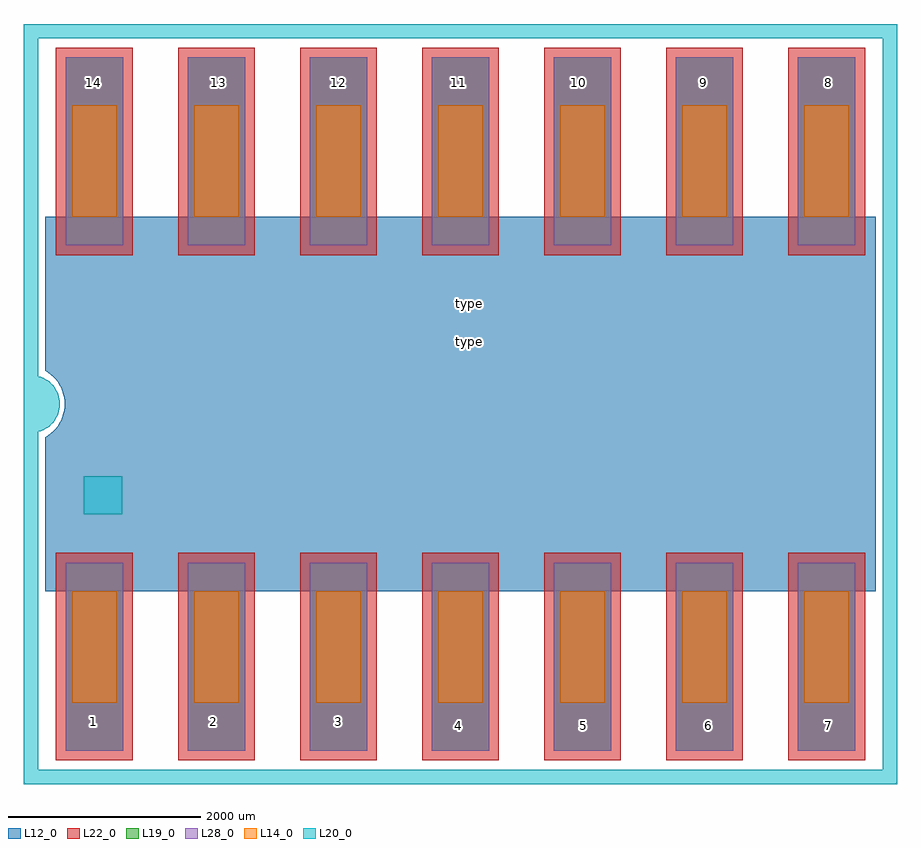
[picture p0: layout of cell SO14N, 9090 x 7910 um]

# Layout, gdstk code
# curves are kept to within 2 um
import gdstk
lib = gdstk.Library(unit=1e-6, precision=1e-09)
def R(c, l, rs):  # rectangles x0, y0, x1, y1
    for r in rs: c.add(gdstk.rectangle(r[:2], r[2:], *l))
def A(c, l, x, y, w, h, nx, ny, dx, dy):  # array of equal rectangles
    R(c, l, [(x+i*dx, y+j*dy, x+i*dx+w, y+j*dy+h) for i in range(nx) for j in range(ny)])
def P(c, l, *ps):  # polygons
    for p in ps: c.add(gdstk.Polygon(p, *l))
L12_0 = (12, 0)
L14_0 = (14, 0)
L19_0 = (19, 0)
L20_0 = (20, 0)
L22_0 = (22, 0)
L28_0 = (28, 0)

so14n = lib.new_cell('SO14N')
P(so14n, L12_0, [(8640.005,3900.005),(0,3900.005),(0,2296.413),(29.431,2277.664),(82.843,2232.846),(127.661,2179.434),(146.41,2150.003),(175.877,2086.811),(186.37,2053.531),(198.478,1984.865),(200,1950.003),(198.478,1915.141),(186.37,1846.475),(175.877,1813.195),(146.41,1750.003),(127.661,1720.572),(82.843,1667.16),(29.431,1622.342),(0,1603.593),(0,0),(8640.005,0)])
A(so14n, L14_0, 280, -1160, 460, 1160, 7, 2, 1270, 5060)
A(so14n, L19_0, 210, -1660, 600, 1960, 7, 2, 1270, 5260)
R(so14n, L20_0, [(400,800,800,1200)])
P(so14n, L20_0, [(-150,2250),(-150,1650),(-97.906,1654.558),(-47.394,1668.092),(0,1690.192),(22.073,1704.254),(62.132,1737.868),(95.746,1777.927),(109.808,1800),(131.908,1847.394),(145.442,1897.906),(150,1950),(145.442,2002.094),(131.908,2052.606),(109.808,2100),(95.746,2122.073),(62.132,2162.132),(22.073,2195.746),(0,2209.808),(-47.394,2231.908),(-97.906,2245.442)])
A(so14n, L22_0, 110, -1760, 800, 2160, 7, 2, 1270, 5260)
A(so14n, L28_0, 210, -1660, 600, 1960, 7, 2, 1270, 5260)
so14n.add(gdstk.FlexPath([(-150,5755),(-150,-1930),(8790,-1930),(8790,5830),(-225,5830)], 150, ends="flush", simple_path=True, layer=20, datatype=0))  # L20_0
so14n.add(gdstk.Label('14', (500,5300), layer=28, texttype=0))
so14n.add(gdstk.Label('13', (1800,5300), layer=28, texttype=0))
so14n.add(gdstk.Label('12', (3050,5300), layer=28, texttype=0))
so14n.add(gdstk.Label('11', (4300,5300), layer=28, texttype=0))
so14n.add(gdstk.Label('10', (5550,5300), layer=28, texttype=0))
so14n.add(gdstk.Label('9', (6850,5300), layer=28, texttype=0))
so14n.add(gdstk.Label('8', (8150,5300), layer=28, texttype=0))
so14n.add(gdstk.Label('7', (8150,-1400), layer=28, texttype=0))
so14n.add(gdstk.Label('6', (6900,-1400), layer=28, texttype=0))
so14n.add(gdstk.Label('5', (5600,-1400), layer=28, texttype=0))
so14n.add(gdstk.Label('4', (4300,-1400), layer=28, texttype=0))
so14n.add(gdstk.Label('3', (3050,-1350), layer=28, texttype=0))
so14n.add(gdstk.Label('2', (1750,-1350), layer=28, texttype=0))
so14n.add(gdstk.Label('1', (500,-1350), layer=28, texttype=0))
so14n.add(gdstk.Label('type', (4415,2600), layer=10, texttype=0))
so14n.add(gdstk.Label('type', (4415,3000), layer=20, texttype=0))
so14n.add(gdstk.Label('devicename', (-600,2000), layer=20, texttype=0))

lib.write_gds('SO14N.gds')
